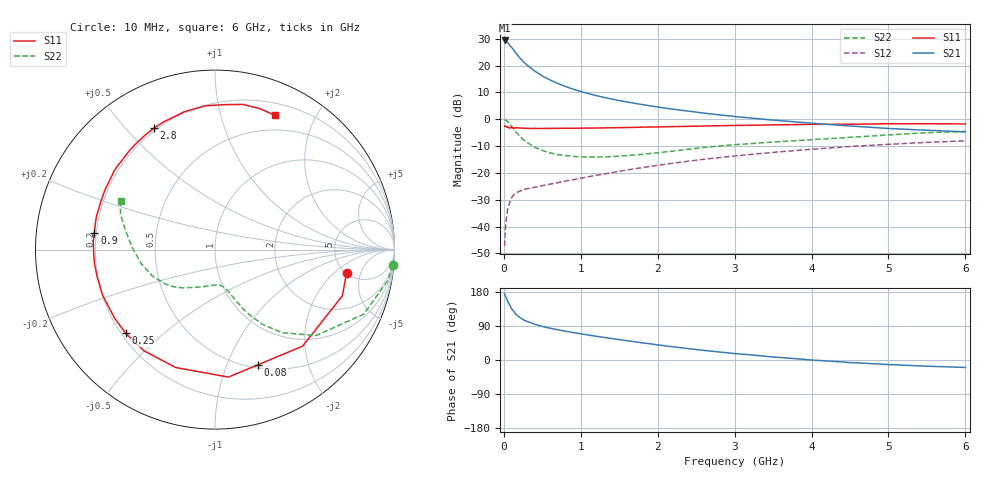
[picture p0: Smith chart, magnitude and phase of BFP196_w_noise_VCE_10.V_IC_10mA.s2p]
! Infineon Technologies  Discrete & RF Semiconductors
! BFP196
! VCE =  10. V,  IC =  10 mA
! Common Emitter S-Parameters:  Jan 2017
# GHz  S  MA  R  50
!  f  S11  S21  S12  S22
! GHz  MAG  ANG  MAG  ANG  MAG  ANG  MAG  ANG
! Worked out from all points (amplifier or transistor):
!   77 points, 10 MHz to 6 GHz, reference 50 ohm
!   highest |S21| = 29.4 dB at 10 MHz (marker M1)
!   |S21| within 3 dB of that: start of sweep to 112.4 MHz
!   unconditionally stable (mu >= 1): 1.024 GHz to 2.339 GHz
!   at 130 MHz: K = 0.23, MSG = 27.0 dB, |S12| = -28.2 dB
!   at 2.2 GHz: K = 1.02, MAG = 9.2 dB, |S12| = -16.4 dB
!   at 6 GHz: K = 0.91, MSG = 1.7 dB, |S12| = -8.0 dB
!   lowest NFmin = 0.99 dB at 450 MHz
!   S11 on the Smith chart (normalised r, x): 10 MHz: 5.02, -2.98; 80 MHz: 0.54, -1.30; 250 MHz: 0.22, -0.38; 900 MHz: 0.19, +0.07; 2.8 GHz: 0.19, +0.60; 6 GHz: 0.33, +1.49
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0.01  0.7449 -10.2  29.45 174.5  0.0043 84.2  0.9929 -5.0
0.02  0.7548 -20.0  29.41 169.3  0.0089 81.5  0.9791 -10.1
0.05  0.7264 -47.8  26.98 154.3  0.0209 69.0  0.9031 -23.5
0.08  0.6848 -69.5  23.69 143.8  0.0288 57.7  0.7965 -32.8
0.1  0.7141 -84.0  22.04 135.2  0.0345 53.2  0.7397 -40.3
0.15  0.6926 -108.4  17.58 122.2  0.0418 44.5  0.5975 -50.8
0.2  0.689 -125.1  14.36 113.3  0.0452 40.4  0.4964 -57.4
0.25  0.6817 -136.9  11.99 106.5  0.0486 37.9  0.4231 -61.4
0.3  0.6775 -145.6  10.25 101.8  0.0507 37.3  0.3699 -64.4
0.4  0.6757 -157.8  7.932 94.2  0.0539 37.4  0.3019 -68.0
0.5  0.6736 -166.7  6.423 88.6  0.0578 38.7  0.262 -70.8
0.6  0.6762 -173.4  5.409 83.9  0.0618 40.3  0.2361 -73.2
0.7  0.6763 -178.7  4.655 79.9  0.0654 42.4  0.2191 -75.4
0.9  0.6786 172.0  3.641 72.4  0.0745 45.6  0.2034 -80.8
1.1  0.686 164.2  3.01 65.9  0.0847 48.5  0.1978 -86.6
1.5  0.6976 151.1  2.23 53.8  0.1069 51.1  0.2048 -100.4
2.1  0.7229 133.4  1.614 37.4  0.1449 50.9  0.2459 -120.9
2.8  0.7575 116.7  1.208 21.1  0.1926 46.7  0.3175 -140.0
3.1  0.7689 110.2  1.091 15.4  0.2133 43.9  0.3425 -147.5
4.1  0.8032 92.3  0.824 -1.3  0.2822 33.7  0.424 -171.5
5.1  0.8229 77.6  0.663 -12.8  0.3469 21.5  0.5199 166.0
6  0.8191 65.9  0.581 -19.7  0.3961 10.5  0.593 152.6
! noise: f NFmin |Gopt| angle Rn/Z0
0.45  0.99  0.35  147  0.06
0.9  1.29  0.5  174  0.05
1.9  2.4  0.7  -139  0.25
2.4  2.9  0.73  -123  0.68
